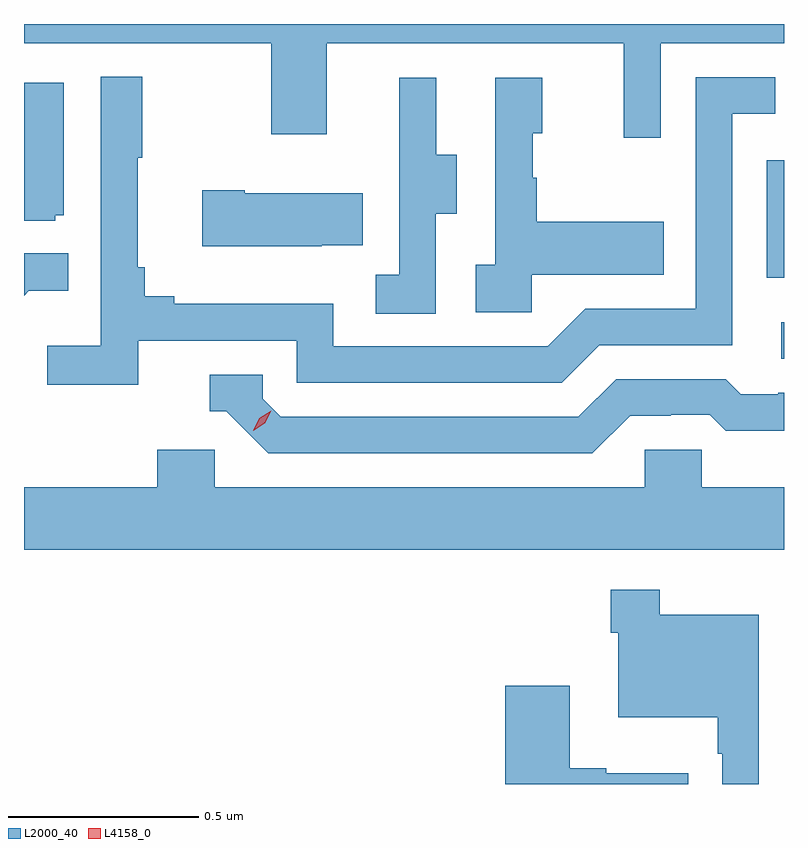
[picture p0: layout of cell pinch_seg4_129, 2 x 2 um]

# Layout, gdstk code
import gdstk
lib = gdstk.Library(unit=1e-6, precision=1e-09)
def R(c, l, rs):  # rectangles x0, y0, x1, y1
    for r in rs: c.add(gdstk.rectangle(r[:2], r[2:], *l))
def P(c, l, *ps):  # polygons
    for p in ps: c.add(gdstk.Polygon(p, *l))
L2000_40 = (2000, 40)
L4158_0 = (4158, 0)

pinch_seg4_129 = lib.new_cell('pinch_seg4_129')
R(pinch_seg4_129, L2000_40, [(1021.425,797.322,1021.432,797.418), (1021.386,797.535,1021.432,797.844)])
P(pinch_seg4_129, L2000_40, [(1021.107,798.152),(1021.432,798.152),(1021.432,798.203),(1019.432,798.203),(1019.432,798.152),(1020.082,798.152),(1020.082,797.913),(1020.229,797.913),(1020.229,798.152),(1021.01,798.152),(1021.01,797.904),(1021.107,797.904)],
  [(1019.732,797.37),(1020.15,797.37),(1020.15,797.259),(1020.847,797.259),(1020.946,797.358),(1021.296,797.358),(1021.296,797.967),(1021.409,797.967),(1021.409,798.063),(1021.2,798.063),(1021.2,797.454),(1020.909,797.454),(1020.81,797.355),(1020.246,797.355),(1020.246,797.467),(1019.827,797.467),(1019.827,797.486),(1019.75,797.486),(1019.75,797.563),(1019.731,797.563),(1019.731,797.851),(1019.743,797.851),(1019.743,798.064),(1019.634,798.064),(1019.634,797.356),(1019.493,797.356),(1019.493,797.254),(1019.732,797.254)],
  [(1020.516,797.704),(1020.571,797.704),(1020.571,797.859),(1020.517,797.859),(1020.517,798.061),(1020.419,798.061),(1020.419,797.847),(1020.42,797.847),(1020.42,797.543),(1020.357,797.543),(1020.357,797.44),(1020.516,797.44)],
  [(1020.768,797.543),(1021.115,797.543),(1021.115,797.683),(1020.781,797.683),(1020.781,797.798),(1020.771,797.798),(1020.771,797.916),(1020.796,797.916),(1020.796,798.061),(1020.672,798.061),(1020.672,797.57),(1020.621,797.57),(1020.621,797.445),(1020.768,797.445)],
  [(1019.514,797.7),(1019.536,797.7),(1019.536,798.049),(1019.432,798.049),(1019.432,797.685),(1019.514,797.685)],
  [(1020.215,797.621),(1020.323,797.621),(1020.323,797.758),(1020.013,797.758),(1020.013,797.766),(1019.901,797.766),(1019.901,797.618),(1020.215,797.618)],
  [(1019.445,797.501),(1019.549,797.501),(1019.549,797.6),(1019.432,797.6),(1019.432,797.488)],
  [(1021.027,797.172),(1021.134,797.172),(1021.134,797.175),(1021.237,797.175),(1021.279,797.133),(1021.432,797.133),(1021.432,797.232),(1021.417,797.232),(1021.417,797.229),(1021.318,797.229),(1021.279,797.268),(1020.99,797.268),(1020.891,797.169),(1020.108,797.169),(1020.06,797.217),(1020.06,797.28),(1019.921,797.28),(1019.921,797.184),(1019.964,797.184),(1020.075,797.073),(1020.928,797.073)],
  [(1021.432,796.984),(1021.215,796.984),(1021.215,797.082),(1021.065,797.082),(1021.065,796.984),(1019.934,796.984),(1019.934,797.082),(1019.783,797.082),(1019.783,796.984),(1019.432,796.984),(1019.432,796.82),(1021.432,796.82)],
  [(1021.366,796.648),(1021.105,796.648),(1021.105,796.714),(1020.976,796.714),(1020.976,796.601),(1020.996,796.601),(1020.996,796.379),(1021.257,796.379),(1021.257,796.283),(1021.269,796.283),(1021.269,796.203),(1021.366,796.203)],
  [(1021.18,796.231),(1020.964,796.231),(1020.964,796.244),(1020.868,796.244),(1020.868,796.462),(1020.698,796.462),(1020.698,796.203),(1021.18,796.203)])
P(pinch_seg4_129, L4158_0, [(1020.035,797.133),(1020.035,797.133),(1020.051,797.166),(1020.082,797.185),(1020.082,797.185),(1020.082,797.185),(1020.066,797.152),(1020.035,797.133)])

lib.write_gds('pinch_seg4_129.gds')
